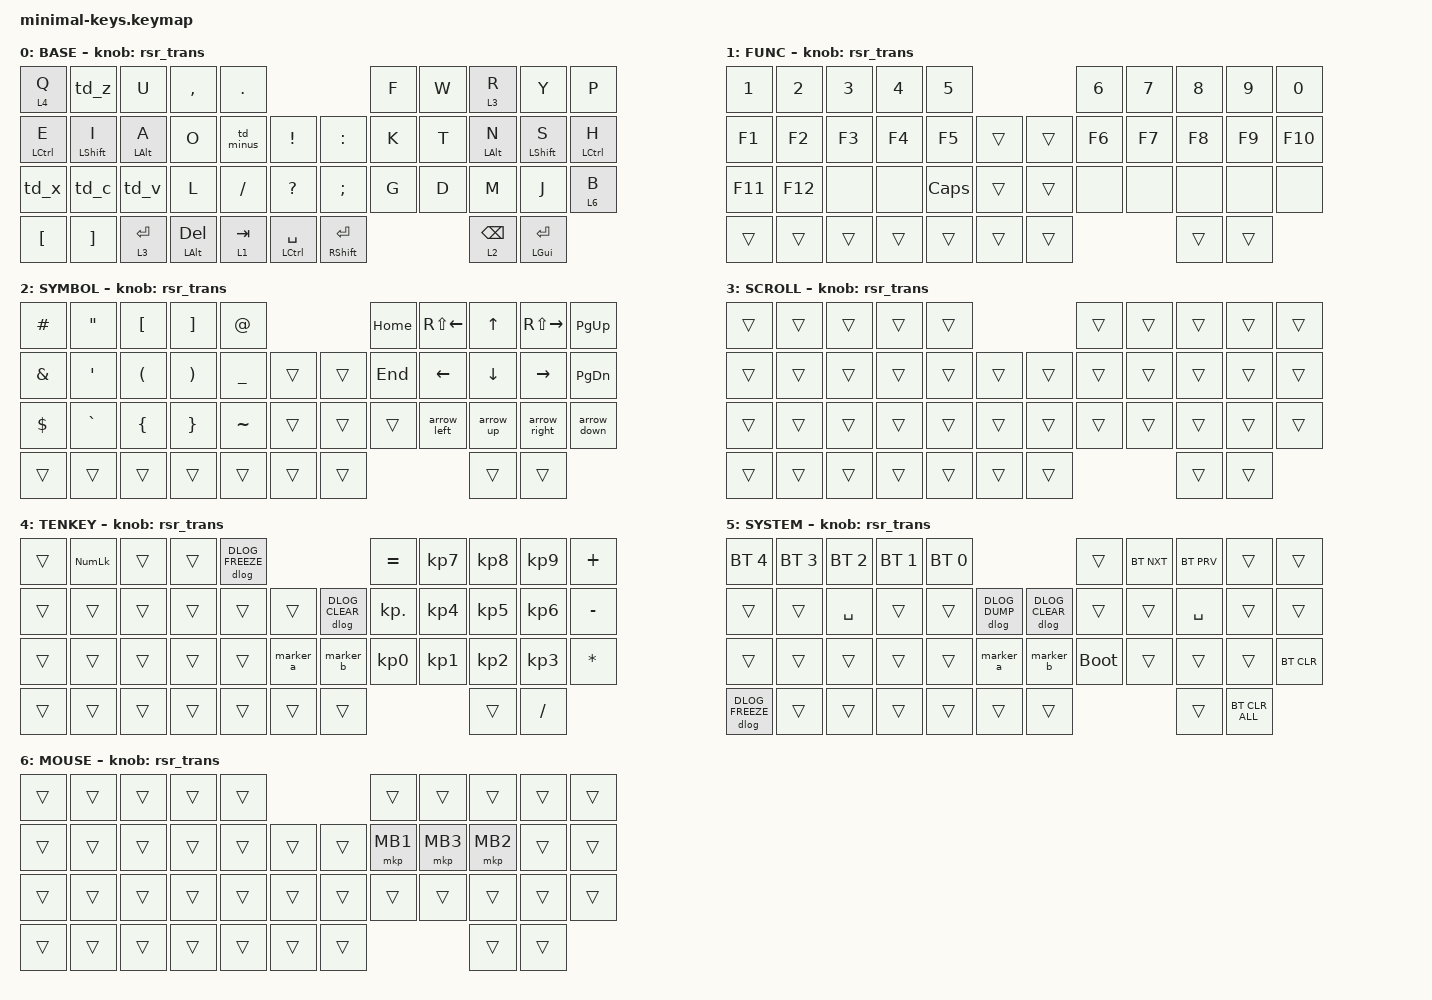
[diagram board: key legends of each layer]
#include <behaviors.dtsi>
#include <behaviors/runtime-sensor-rotate.dtsi>
#include <dt-bindings/zmk/bt.h>
#include <dt-bindings/zmk/keys.h>
#include <dt-bindings/zmk/pointing.h>
#include <dt-bindings/zmk/data-logger.h>

/* 大西配列。zmk_config_CLine38 (CLine38.keymap) と同じ配置・仕様に揃えたもの。
   CLine38 の 38 キーを minimal-keys の 43 キーへ当てはめ、CLine38 に無い内側列は
   ! ? : ; 、左親指 2 キーは [ ] にしている (minimal-keys Studio で調整した配置)。

   レイヤー:
     0 BASE    大西配列
     1 FUNC    数字・F キー           (td_1 ホールド)
     2 SYMBOL  記号・カーソル         (td_2 ホールド)
     3 SCROLL  トラックボールでスクロール (R / 左親指 Enter のホールド。minimal-keys_R.overlay の scroll-layers)
     4 TENKEY  テンキー・データロガー (Q ホールド)
     5 SYSTEM  Bluetooth・ブートローダ・データロガー (td_1 + td_2 同時ホールド)
     6 MOUSE   クリック K/T/N = 左/中/右 (B ホールド)

   オートマウスレイヤーは使わない。
   クリックは右上段のコンボ (W+R = 左, R+Y = 右, W+Y = 中央) か MOUSE レイヤーで行う。 */

#undef ZMK_POINTING_DEFAULT_SCRL_VAL
#define ZMK_POINTING_DEFAULT_SCRL_VAL 100

&mt {
    flavor = "balanced";
    quick-tap-ms = <0>;
};

&rsr_trans {
    cw-binding = <&kp C_VOL_UP>;
    ccw-binding = <&kp C_VOL_DN>;
    tap-ms = <5>;
};

/ {
    combos {
        compatible = "zmk,combos";

        /* Positions follow &default_transform in minimal-keys.dtsi:
             row0 0..9   row1 10..21   row2 22..33   thumbs 34..42 */

        lang_e {                    /* A + O : 英数 */
            bindings = <&to_layer_0 LANGUAGE_2>;
            key-positions = <12 13>;
            layers = <0>;
        };

        lang_j {                    /* T + N : かな */
            bindings = <&to_layer_0 LANGUAGE_1>;
            key-positions = <18 19>;
            layers = <0>;
        };

        double_n {                  /* N + S : NN */
            bindings = <&double_n>;
            key-positions = <19 20>;
            layers = <0>;
            /* 既定の 50ms では同時押しが間に合わず成立しにくいので広げる */
            timeout-ms = <80>;
        };

        mo_system {                 /* td_1 + td_2 held together */
            bindings = <&mo 5>;
            key-positions = <38 41>;
            layers = <0>;
        };

        /* マウスクリック。"ry" (りゃ/りゅ/りょ) などの打鍵中に誤爆しないよう、
           直前のキー入力から少し間が空いているときだけ成立させる。 */

        mouse_left {                /* W + R */
            bindings = <&mkp MB1>;
            key-positions = <6 7>;
            layers = <0>;
            timeout-ms = <40>;
            require-prior-idle-ms = <150>;
        };

        mouse_right {               /* R + Y */
            bindings = <&mkp MB2>;
            key-positions = <7 8>;
            layers = <0>;
            timeout-ms = <40>;
            require-prior-idle-ms = <150>;
        };

        mouse_middle {              /* W + Y */
            bindings = <&mkp MB3>;
            key-positions = <6 8>;
            layers = <0>;
            timeout-ms = <40>;
            require-prior-idle-ms = <150>;
        };
    };

    macros {
        to_layer_0: to_layer_0 {
            compatible = "zmk,behavior-macro-one-param";
            #binding-cells = <1>;
            bindings = <&to 0 &macro_param_1to1 &kp MACRO_PLACEHOLDER>;
            label = "TO_LAYER_0";
        };

        double_n: double_N {
            compatible = "zmk,behavior-macro";
            #binding-cells = <0>;
            bindings = <&kp N &kp N>;
            label = "DOUBLE_N";
        };

        /* Arrow symbols via Windows Unicode hex input.
           Requires HKCU\Control Panel\Input Method\EnableHexNumpad = "1"
           (REG_SZ, then sign out/in) and NumLock on. */

        arrow_left: arrow_left {          /* ← : Alt + KP_PLUS + 2190 (Unicode hex input) */
            compatible = "zmk,behavior-macro";
            #binding-cells = <0>;
            bindings
                = <&macro_press &kp LEFT_ALT>
                , <&macro_tap &kp KP_PLUS &kp KP_N2 &kp KP_N1 &kp KP_N9 &kp KP_N0>
                , <&macro_release &kp LEFT_ALT>
                ;
            label = "ARROW_LEFT";
        };

        arrow_up: arrow_up {          /* ↑ : Alt + KP_PLUS + 2191 (Unicode hex input) */
            compatible = "zmk,behavior-macro";
            #binding-cells = <0>;
            bindings
                = <&macro_press &kp LEFT_ALT>
                , <&macro_tap &kp KP_PLUS &kp KP_N2 &kp KP_N1 &kp KP_N9 &kp KP_N1>
                , <&macro_release &kp LEFT_ALT>
                ;
            label = "ARROW_UP";
        };

        arrow_right: arrow_right {          /* → : Alt + KP_PLUS + 2192 (Unicode hex input) */
            compatible = "zmk,behavior-macro";
            #binding-cells = <0>;
            bindings
                = <&macro_press &kp LEFT_ALT>
                , <&macro_tap &kp KP_PLUS &kp KP_N2 &kp KP_N1 &kp KP_N9 &kp KP_N2>
                , <&macro_release &kp LEFT_ALT>
                ;
            label = "ARROW_RIGHT";
        };

        arrow_down: arrow_down {          /* ↓ : Alt + KP_PLUS + 2193 (Unicode hex input) */
            compatible = "zmk,behavior-macro";
            #binding-cells = <0>;
            bindings
                = <&macro_press &kp LEFT_ALT>
                , <&macro_tap &kp KP_PLUS &kp KP_N2 &kp KP_N1 &kp KP_N9 &kp KP_N3>
                , <&macro_release &kp LEFT_ALT>
                ;
            label = "ARROW_DOWN";
        };

        // Data logger markers: stamp the ring buffer + send F13/F14 so the
        // host-side event logger can record the press timestamp for sync.
        marker_a: marker_a {
            compatible = "zmk,behavior-macro";
            #binding-cells = <0>;
            bindings = <&dlog DLOG_MARKER_A>, <&kp F13>;
            label = "DLOG_MARKER_A";
        };

        marker_b: marker_b {
            compatible = "zmk,behavior-macro";
            #binding-cells = <0>;
            bindings = <&dlog DLOG_MARKER_B>, <&kp F14>;
            label = "DLOG_MARKER_B";
        };
    };

    behaviors {
        td_z: td_z {
            compatible = "zmk,behavior-tap-dance";
            label = "TD_Z";
            #binding-cells = <0>;
            bindings = <&kp Z>, <&kp LC(Z)>, <&kp LC(LS(Z))>;
        };

        td_x: td_x {
            compatible = "zmk,behavior-tap-dance";
            label = "TD_X";
            #binding-cells = <0>;
            bindings = <&kp X>, <&kp LC(X)>;
        };

        td_c: td_c {
            compatible = "zmk,behavior-tap-dance";
            label = "TD_C";
            #binding-cells = <0>;
            bindings = <&kp C>, <&kp LC(C)>;
        };

        td_v: td_v {
            compatible = "zmk,behavior-tap-dance";
            label = "TD_V";
            #binding-cells = <0>;
            bindings = <&kp V>, <&kp LC(V)>;
        };

        td_minus: td_minus {
            compatible = "zmk,behavior-tap-dance";
            label = "TD_MINUS";
            #binding-cells = <0>;
            bindings = <&kp MINUS>, <&kp TILDE>;
        };

        td_question: td_question {
            compatible = "zmk,behavior-tap-dance";
            label = "TD_QUESTION";
            #binding-cells = <0>;
            bindings = <&kp QUESTION>, <&kp EXCLAMATION>;
        };

        /* td_*: tap = key, hold = layer/modifier, tap then hold = key repeat
           (hold-tap with quick-tap-ms). Usage: &td_1 <layer> <key>, etc. */

        td_1: td_1 {
            compatible = "zmk,behavior-hold-tap";
            label = "TD_1";
            #binding-cells = <2>;
            bindings = <&mo>, <&kp>;
            flavor = "balanced";
            tapping-term-ms = <150>;
            quick-tap-ms = <150>;
        };

        td_2: td_2 {
            compatible = "zmk,behavior-hold-tap";
            label = "TD_2";
            #binding-cells = <2>;
            bindings = <&mo>, <&kp>;
            flavor = "balanced";
            tapping-term-ms = <150>;
            quick-tap-ms = <150>;
        };

        td_3: td_3 {
            compatible = "zmk,behavior-hold-tap";
            label = "TD_3";
            #binding-cells = <2>;
            bindings = <&kp>, <&kp>;
            flavor = "balanced";
            tapping-term-ms = <150>;
            quick-tap-ms = <150>;
        };

        td_space: td_space {
            compatible = "zmk,behavior-hold-tap";
            label = "TD_SPACE";
            #binding-cells = <2>;
            bindings = <&kp>, <&kp>;
            flavor = "balanced";
            tapping-term-ms = <150>;
            quick-tap-ms = <150>;
        };

        /* lt_scroll: tap = key, hold = SCROLL layer. Same timing as &lt;
           its own label so Studio shows it as LAYER_TAP_SCROLL. */
        lt_scroll: lt_scroll {
            compatible = "zmk,behavior-hold-tap";
            label = "LAYER_TAP_SCROLL";
            #binding-cells = <2>;
            bindings = <&mo>, <&kp>;
            flavor = "tap-preferred";
            tapping-term-ms = <200>;
        };

        td_enter: td_enter {
            compatible = "zmk,behavior-hold-tap";
            label = "TD_ENTER";
            #binding-cells = <2>;
            bindings = <&kp>, <&kp>;
            flavor = "balanced";
            tapping-term-ms = <150>;
            quick-tap-ms = <150>;
        };
    };

    keymap {
        compatible = "zmk,keymap";

        default_layer {
            display-name = "BASE";
            bindings = <
&lt 4 Q              &td_z                 &kp U                &kp COMMA  &kp PERIOD                                                     &kp F  &kp W  &lt_scroll 3 R      &kp Y                 &kp P
&mt LEFT_CONTROL E   &mt LEFT_SHIFT I      &mt LEFT_ALT A       &kp O      &td_minus   &kp EXCLAMATION                  &kp COLON         &kp K  &kp T  &mt LEFT_ALT N      &mt LEFT_SHIFT S      &mt LEFT_CONTROL H
&td_x                &td_c                 &td_v                &kp L      &kp SLASH   &kp QUESTION                     &kp SEMICOLON     &kp G  &kp D  &kp M               &kp J                 &lt 6 B
&kp LEFT_BRACKET  &kp RIGHT_BRACKET  &lt_scroll 3 ENTER  &td_3 LEFT_ALT DELETE  &td_1 1 TAB  &td_space LEFT_CONTROL SPACE    &td_enter RIGHT_SHIFT ENTER  &td_2 2 BACKSPACE    &mt LEFT_GUI ENTER
            >;
            sensor-bindings = <&rsr_trans>;
        };

        func_layer {
            display-name = "FUNC";
            bindings = <
&kp NUMBER_1  &kp NUMBER_2  &kp NUMBER_3  &kp NUMBER_4  &kp NUMBER_5                          &kp NUMBER_6  &kp NUMBER_7  &kp NUMBER_8  &kp NUMBER_9  &kp NUMBER_0
&kp F1        &kp F2        &kp F3        &kp F4        &kp F5        &trans          &trans  &kp F6        &kp F7        &kp F8        &kp F9        &kp F10
&kp F11       &kp F12       &none         &none         &kp CAPSLOCK  &trans          &trans  &none         &none         &none         &none         &none
&trans        &trans        &trans        &trans        &trans        &trans          &trans  &trans                                                  &trans
            >;
            sensor-bindings = <&rsr_trans>;
        };

        symbol_layer {
            display-name = "SYMBOL";
            bindings = <
&kp HASH       &kp DOUBLE_QUOTES  &kp LEFT_BRACKET      &kp RIGHT_BRACKET      &kp AT_SIGN                          &kp HOME     &kp RS(LEFT_ARROW)  &kp UP_ARROW    &kp RS(RIGHT_ARROW)  &kp PAGE_UP
&kp AMPERSAND  &kp SINGLE_QUOTE   &kp LEFT_PARENTHESIS  &kp RIGHT_PARENTHESIS  &kp UNDERSCORE  &trans      &trans  &kp END      &kp LEFT_ARROW      &kp DOWN_ARROW  &kp RIGHT_ARROW      &kp PAGE_DOWN
&kp DOLLAR     &kp GRAVE          &kp LEFT_BRACE        &kp RIGHT_BRACE        &kp TILDE       &trans      &trans  &trans       &arrow_left         &arrow_up       &arrow_right         &arrow_down
&trans         &trans             &trans                &trans                 &trans          &trans      &trans  &trans                                                                &trans
            >;
            sensor-bindings = <&rsr_trans>;
        };

        scroll_layer {
            display-name = "SCROLL";
            bindings = <
&trans  &trans  &trans  &trans  &trans                    &trans  &trans  &trans  &trans  &trans
&trans  &trans  &trans  &trans  &trans  &trans    &trans  &trans  &trans  &trans  &trans  &trans
&trans  &trans  &trans  &trans  &trans  &trans    &trans  &trans  &trans  &trans  &trans  &trans
&trans  &trans  &trans  &trans  &trans  &trans    &trans  &trans                          &trans
            >;
            sensor-bindings = <&rsr_trans>;
        };

        tenkey_layer {
            display-name = "TENKEY";
            bindings = <
&trans  &kp KP_NUMLOCK  &trans  &trans  &dlog DLOG_FREEZE                                 &kp EQUAL         &kp KP_NUMBER_7  &kp KP_NUMBER_8  &kp KP_NUMBER_9  &kp PLUS
&trans  &trans          &trans  &trans  &trans             &trans         &dlog DLOG_CLEAR  &kp KP_DOT        &kp KP_NUMBER_4  &kp KP_NUMBER_5  &kp KP_NUMBER_6  &kp MINUS
&trans  &trans          &trans  &trans  &trans             &marker_a      &marker_b         &kp KP_NUMBER_0   &kp KP_NUMBER_1  &kp KP_NUMBER_2  &kp KP_NUMBER_3  &kp ASTERISK
&trans  &trans          &trans  &trans  &trans             &trans         &trans            &trans                                                               &kp SLASH
            >;
            sensor-bindings = <&rsr_trans>;
        };

        system_layer {
            display-name = "SYSTEM";
            bindings = <
&bt BT_SEL 4       &bt BT_SEL 3  &bt BT_SEL 2  &bt BT_SEL 1  &bt BT_SEL 0                                        &trans       &bt BT_NXT  &bt BT_PRV  &trans  &trans
&trans             &trans        &kp SPACE     &trans        &trans        &dlog DLOG_DUMP    &dlog DLOG_CLEAR  &trans       &trans      &kp SPACE   &trans  &trans
&trans             &trans        &trans        &trans        &trans        &marker_a          &marker_b         &bootloader  &trans      &trans      &trans  &bt BT_CLR
&dlog DLOG_FREEZE  &trans        &trans        &trans        &trans        &trans             &trans            &trans                                       &bt BT_CLR_ALL
            >;
            sensor-bindings = <&rsr_trans>;
        };

        mouse_layer {
            display-name = "MOUSE";
            bindings = <
&trans  &trans  &trans  &trans  &trans                    &trans  &trans    &trans    &trans    &trans
&trans  &trans  &trans  &trans  &trans  &trans    &trans  &mkp MB1  &mkp MB3  &mkp MB2  &trans  &trans
&trans  &trans  &trans  &trans  &trans  &trans    &trans  &trans    &trans    &trans    &trans  &trans
&trans  &trans  &trans  &trans  &trans  &trans    &trans  &trans                                &trans
            >;
            sensor-bindings = <&rsr_trans>;
        };
    };
};
